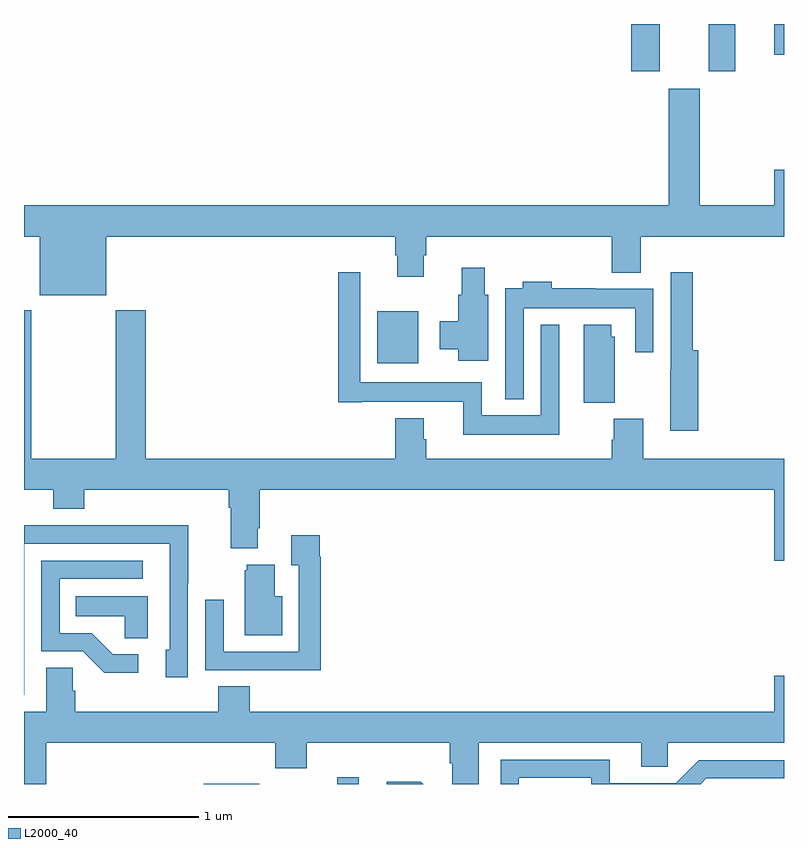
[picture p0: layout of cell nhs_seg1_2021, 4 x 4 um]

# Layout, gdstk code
import gdstk
lib = gdstk.Library(unit=1e-6, precision=1e-09)
def R(c, l, rs):  # rectangles x0, y0, x1, y1
    for r in rs: c.add(gdstk.rectangle(r[:2], r[2:], *l))
def P(c, l, *ps):  # polygons
    for p in ps: c.add(gdstk.Polygon(p, *l))
L2000_40 = (2000, 40)

nhs_seg1_2021 = lib.new_cell('nhs_seg1_2021')
R(nhs_seg1_2021, L2000_40, [(221.947,534.199,222.239,534.2), (222.648,534.199,222.763,534.235), (222.86,536.414,223.075,536.686), (224.195,537.951,224.347,538.199), (224.603,537.951,224.743,538.199), (224.948,538.038,225,538.199)])
P(nhs_seg1_2021, L2000_40, [(221,537.08),(221.084,537.08),(221.084,536.771),(221.434,536.771),(221.434,537.08),(222.953,537.08),(222.953,536.982),(222.965,536.982),(222.965,536.868),(223.105,536.868),(223.105,536.982),(223.118,536.982),(223.118,537.08),(224.093,537.08),(224.093,536.891),(224.245,536.891),(224.245,537.08),(225,537.08),(225,537.433),(224.948,537.433),(224.948,537.244),(224.557,537.244),(224.557,537.859),(224.393,537.859),(224.393,537.244),(221,537.244)],
  [(223.444,536.775),(223.426,536.775),(223.426,536.917),(223.304,536.917),(223.304,536.775),(223.286,536.775),(223.286,536.634),(223.187,536.634),(223.187,536.486),(223.286,536.486),(223.286,536.427),(223.444,536.427)],
  [(224.549,536.482),(224.519,536.482),(224.519,536.893),(224.403,536.893),(224.403,536.378),(224.402,536.378),(224.402,536.058),(224.549,536.058)],
  [(223.816,536.617),(223.719,536.617),(223.719,536.14),(223.41,536.14),(223.41,536.314),(222.771,536.314),(222.771,536.893),(222.655,536.893),(222.655,536.208),(222.778,536.208),(222.778,536.21),(223.313,536.21),(223.313,536.036),(223.816,536.036)],
  [(223.629,536.702),(224.217,536.702),(224.217,536.472),(224.313,536.472),(224.313,536.806),(224.009,536.806),(224.009,536.809),(223.778,536.809),(223.778,536.842),(223.625,536.842),(223.625,536.809),(223.533,536.809),(223.533,536.225),(223.629,536.225)],
  [(225,535.912),(224.258,535.912),(224.258,536.121),(224.105,536.121),(224.105,536.012),(224.093,536.012),(224.093,535.912),(223.118,535.912),(223.118,536.013),(223.105,536.013),(223.105,536.125),(222.953,536.125),(222.953,535.912),(221.642,535.912),(221.642,536.692),(221.482,536.692),(221.482,535.912),(221.037,535.912),(221.037,536.692),(221,536.692),(221,535.748),(221.153,535.748),(221.153,535.649),(221.318,535.649),(221.318,535.748),(222.077,535.748),(222.077,535.652),(222.089,535.652),(222.089,535.439),(222.229,535.439),(222.229,535.546),(222.242,535.546),(222.242,535.748),(224.948,535.748),(224.948,535.374),(225,535.374)],
  [(224.11,536.553),(224.092,536.553),(224.092,536.617),(223.946,536.617),(223.946,536.206),(224.11,536.206)],
  [(221.001,535.464),(221.766,535.464),(221.766,534.906),(221.747,534.906),(221.747,534.762),(221.862,534.762),(221.862,535.255),(221.865,535.255),(221.865,535.562),(221.401,535.562),(221.401,535.56),(221,535.56),(221,534.669),(221.001,534.669)],
  [(222.563,535.394),(222.556,535.394),(222.556,535.507),(222.407,535.507),(222.407,535.351),(222.447,535.351),(222.447,534.894),(222.051,534.894),(222.051,535.168),(221.955,535.168),(221.955,534.798),(222.271,534.798),(222.271,534.797),(222.563,534.797)],
  [(221.602,534.882),(221.467,534.882),(221.356,534.993),(221.187,534.993),(221.187,535.278),(221.626,535.278),(221.626,535.374),(221.091,535.374),(221.091,534.897),(221.31,534.897),(221.423,534.785),(221.602,534.785)],
  [(222.358,535.186),(222.319,535.186),(222.319,535.354),(222.173,535.354),(222.173,535.323),(222.161,535.323),(222.161,534.983),(222.358,534.983)],
  [(221.65,535.186),(221.272,535.186),(221.272,535.082),(221.529,535.082),(221.529,534.967),(221.65,534.967)],
  [(221.116,534.416),(222.323,534.416),(222.323,534.283),(222.488,534.283),(222.488,534.416),(223.241,534.416),(223.241,534.307),(223.254,534.307),(223.254,534.199),(223.393,534.199),(223.393,534.416),(224.249,534.416),(224.249,534.289),(224.388,534.289),(224.388,534.416),(225,534.416),(225,534.769),(224.948,534.769),(224.948,534.58),(222.188,534.58),(222.188,534.713),(222.023,534.713),(222.023,534.58),(221.27,534.58),(221.27,534.689),(221.256,534.689),(221.256,534.812),(221.117,534.812),(221.117,534.58),(221,534.58),(221,534.199),(221.116,534.199)],
  [(223.605,534.231),(223.986,534.231),(223.986,534.199),(224.563,534.199),(224.592,534.228),(225,534.228),(225,534.324),(224.55,534.324),(224.43,534.204),(224.083,534.204),(224.083,534.327),(223.509,534.327),(223.509,534.199),(223.605,534.199)],
  [(223.087,534.212),(222.909,534.212),(222.909,534.199),(223.1,534.199)])

lib.write_gds('nhs_seg1_2021.gds')
